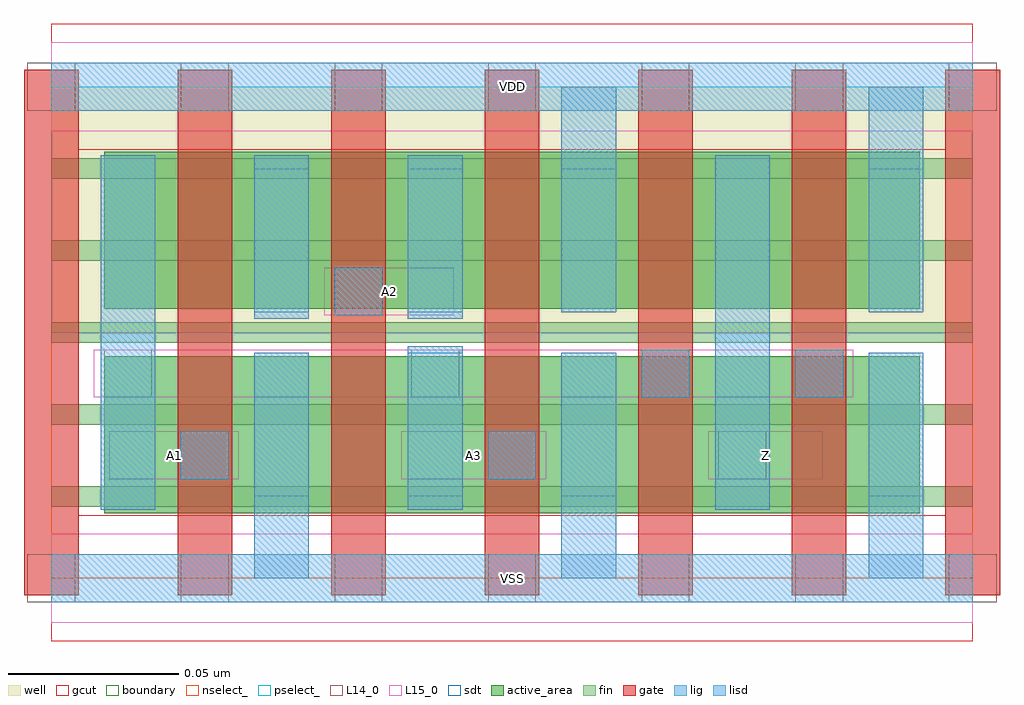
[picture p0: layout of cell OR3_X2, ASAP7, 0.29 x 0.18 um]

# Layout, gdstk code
import gdstk
lib = gdstk.Library(unit=1e-6, precision=2.5e-10)
def R(c, l, rs):  # rectangles x0, y0, x1, y1
    for r in rs: c.add(gdstk.rectangle(r[:2], r[2:], *l))
def A(c, l, x, y, w, h, nx, ny, dx, dy):  # array of equal rectangles
    R(c, l, [(x+i*dx, y+j*dy, x+i*dx+w, y+j*dy+h) for i in range(nx) for j in range(ny)])
well = (1, 0)
fin = (2, 0)
gate = (7, 0)
gcut = (10, 0)
active_area = (11, 0)
nselect_ = (12, 0)
pselect_ = (13, 0)
L14_0 = (14, 0)
L15_0 = (15, 0)
lig = (16, 0)
lisd = (17, 0)
sdt = (88, 0)
boundary = (100, 0)

or3_x2 = lib.new_cell('OR3_X2')
R(or3_x2, well, [(0,0.072,0.27,0.144)])
A(or3_x2, fin, 0, 0.021, 0.27, 0.006, 1, 5, 0, 0.024)
A(or3_x2, gate, -0.008, -0.005, 0.016, 0.154, 7, 1, 0.045, 0)
R(or3_x2, gcut, [(0,-0.0185,0.27,0.0185), (-0.008,-0.005,0.008,0.149), (0.262,-0.005,0.278,0.149), (0,0.1255,0.27,0.1625)])
A(or3_x2, active_area, 0.0155, 0.019, 0.059, 0.046, 5, 2, 0.045, 0.06)
R(or3_x2, nselect_, [(0,0,0.27,0.072)])
R(or3_x2, pselect_, [(0,0.072,0.27,0.144)])
A(or3_x2, L14_0, -0.007, -0.007, 0.014, 0.014, 7, 2, 0.045, 0.144)
R(or3_x2, L14_0, [(0.038,0.029,0.052,0.043), (0.128,0.029,0.142,0.043), (0.1955,0.029,0.2095,0.043), (0.0155,0.053,0.0295,0.067), (0.1055,0.053,0.1195,0.067), (0.173,0.053,0.187,0.067), (0.218,0.053,0.232,0.067), (0.083,0.077,0.097,0.091)])
R(or3_x2, L15_0, [(0,-0.013,0.27,0.013), (0.017,0.029,0.055,0.043), (0.1025,0.029,0.145,0.043), (0.1925,0.029,0.226,0.043), (0.0125,0.053,0.235,0.067), (0.08,0.077,0.118,0.091), (0,0.131,0.27,0.157)])
R(or3_x2, lig, [(0,-0.007,0.27,0.007), (0.038,0.029,0.052,0.043), (0.128,0.029,0.142,0.043), (0.173,0.053,0.187,0.067), (0.218,0.053,0.232,0.067), (0.083,0.077,0.097,0.091), (0,0.137,0.27,0.151)])
R(or3_x2, lisd, [(0.0595,0,0.0755,0.066), (0.0595,0,0.0755,0.066), (0.1495,0,0.1655,0.066), (0.1495,0,0.1655,0.066), (0.2395,0,0.2555,0.066), (0.0145,0.02,0.0305,0.124), (0.1045,0.02,0.1205,0.068), (0.1045,0.02,0.1205,0.068), (0.1945,0.02,0.2105,0.124), (0.1945,0.02,0.2105,0.124), (0.0595,0.076,0.0755,0.124), (0.0595,0.076,0.0755,0.124), (0.1045,0.076,0.1205,0.124), (0.1045,0.076,0.1205,0.124), (0.1495,0.078,0.1655,0.144), (0.1495,0.078,0.1655,0.144), (0.2395,0.078,0.2555,0.144)])
R(or3_x2, sdt, [(0.0145,0.02,0.0305,0.124), (0.1945,0.02,0.2105,0.124), (0.1945,0.02,0.2105,0.124), (0.0595,0.024,0.0755,0.066), (0.0595,0.024,0.0755,0.066), (0.1045,0.024,0.1205,0.066), (0.1045,0.024,0.1205,0.066), (0.1495,0.024,0.1655,0.066), (0.1495,0.024,0.1655,0.066), (0.2395,0.024,0.2555,0.066), (0.0595,0.078,0.0755,0.12), (0.0595,0.078,0.0755,0.12), (0.1045,0.078,0.1205,0.12), (0.1045,0.078,0.1205,0.12), (0.1495,0.078,0.1655,0.12), (0.1495,0.078,0.1655,0.12), (0.2395,0.078,0.2555,0.12)])
R(or3_x2, boundary, [(0,0,0.27,0.144)])
or3_x2.add(gdstk.Label('VDD', (0.135,0.144), layer=1, texttype=251))
or3_x2.add(gdstk.Label('VSS', (0.135,0), layer=3, texttype=251))
or3_x2.add(gdstk.Label('A1', (0.036,0.036), layer=15, texttype=251))
or3_x2.add(gdstk.Label('A2', (0.099,0.084), layer=15, texttype=251))
or3_x2.add(gdstk.Label('A3', (0.1237,0.036), layer=15, texttype=251))
or3_x2.add(gdstk.Label('Z', (0.2092,0.036), layer=15, texttype=251))
or3_x2.add(gdstk.Label('VSS', (0.135,0), layer=15, texttype=251))
or3_x2.add(gdstk.Label('VDD', (0.135,0.144), layer=15, texttype=251))

lib.write_gds('OR3_X2.gds')
